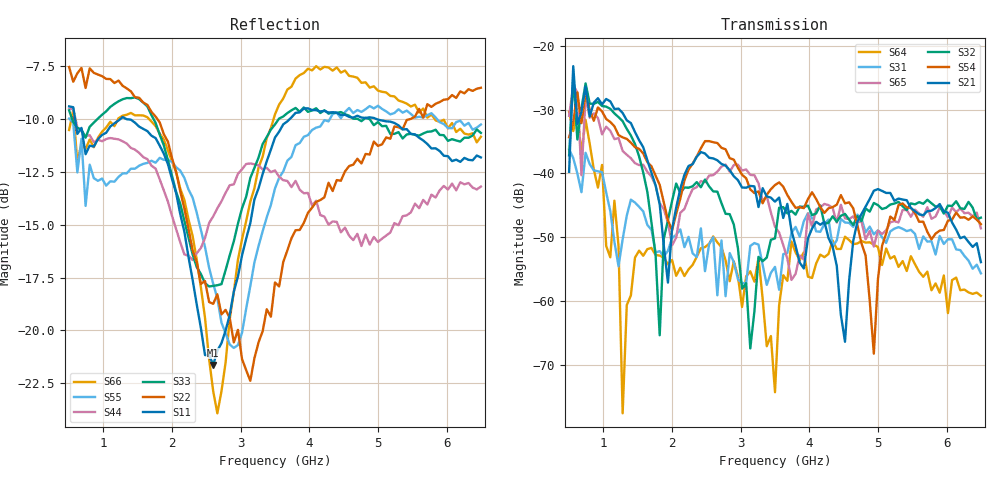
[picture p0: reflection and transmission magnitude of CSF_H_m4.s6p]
!Keysight Technologies,M9804A,MY58100912,A.14.10.03
!Date: Thursday, April 27, 2023 10:28:33
!Correction: S11(C  6-Port  )
!S12(C  6-Port  )
!S13(C  6-Port  )
!S14(C  6-Port  )
!S15(C  6-Port  )
!S16(C  6-Port  )
!S21(C  6-Port  )
!S22(C  6-Port  )
!S23(C  6-Port  )
!S24(C  6-Port  )
!S25(C  6-Port  )
!S26(C  6-Port  )
!S31(C  6-Port  )
!S32(C  6-Port  )
!S33(C  6-Port  )
!S34(C  6-Port  )
!S35(C  6-Port  )
!S36(C  6-Port  )
!S41(C  6-Port  )
!S42(C  6-Port  )
!S43(C  6-Port  )
!S44(C  6-Port  )
!S45(C  6-Port  )
!S46(C  6-Port  )
!S51(C  6-Port  )
!S52(C  6-Port  )
!S53(C  6-Port  )
!S54(C  6-Port  )
!S55(C  6-Port  )
!S56(C  6-Port  )
!S61(C  6-Port  )
!S62(C  6-Port  )
!S63(C  6-Port  )
!S64(C  6-Port  )
!S65(C  6-Port  )
!S66(C  6-Port  )
!S6P File: Measurement: :
# Hz S  RI  R 50
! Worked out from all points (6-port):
!   101 points, 500 MHz to 6.5 GHz, reference 50 ohm
!   strongest paths, dB at 500 MHz, 2 GHz, 3.5 GHz, 5 GHz, 6.5 GHz:
!     S21: -39.7, -48.7, -44.4, -42.4, -53.9
!     S54: -34.3, -48.9, -41.8, -56.5, -47.9
!     S32: -37.2, -44.3, -50.2, -45.0, -46.9
!     S65: -31.0, -51.2, -48.3, -48.9, -48.6
!     S31: -36.2, -50.1, -54.6, -48.9, -55.6
!     S64: -30.4, -53.5, -74.2, -51.5, -59.1
!   lowest |S11| = -21.6 dB at 2.6 GHz (marker M1), VSWR 1.18, Z = 42.6 + j2.06 ohm
!   |S11| at or under -10 dB: 586.6 MHz to 1.246 GHz (659.7 MHz wide, 72 % of centre); 1.335 GHz to 3.716 GHz (2.381 GHz wide, 94.3 % of centre); 4.977 GHz to end of sweep
